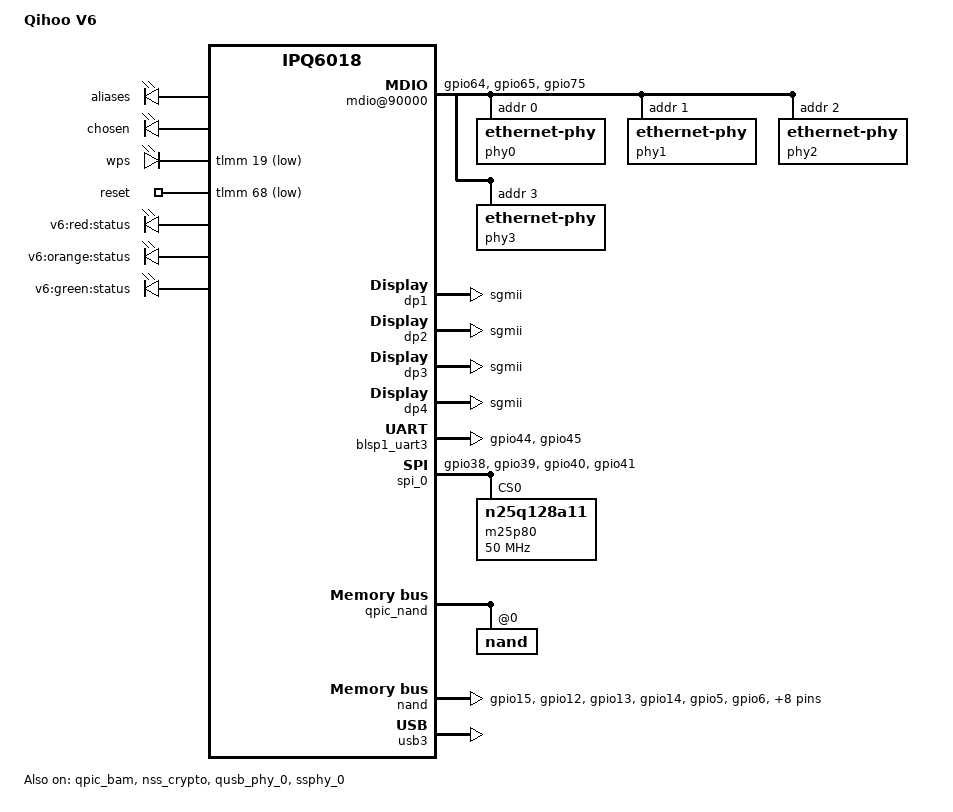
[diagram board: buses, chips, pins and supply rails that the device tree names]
/dts-v1/;

#include "ipq6018.dtsi"
#include "ipq6018-upstreamable.dtsi"
#include "ipq6018-ess.dtsi"

#include <dt-bindings/input/input.h>
#include <dt-bindings/gpio/gpio.h>

/ {
	#address-cells = <0x2>;
	#size-cells = <0x2>;
	model = "Qihoo V6";
	compatible = "qihoo,v6", "qcom,ipq6018";
	interrupt-parent = <&intc>;
	qcom,msm-id = <0x192 0x0>;

	aliases {
		led-boot = &led_red;
		led-failsafe = &led_red;
		led-running = &led_green;
		led-upgrade = &led_green;
		serial0 = &blsp1_uart3;

		ethernet0 = "/soc/dp1";
		ethernet1 = "/soc/dp2";
		ethernet2 = "/soc/dp3";
		ethernet3 = "/soc/dp4";
	};

	chosen {
		bootargs = "console=ttyMSM0,115200,n8 rw init=/init";
		bootargs-append = " root=/dev/ubiblock0_1 swiotlb=1 coherent_pool=2M";
	};
};

&tlmm {
	uart_pins: uart_pins {
		mux {
			pins = "gpio44", "gpio45";
			function = "blsp2_uart";
			drive-strength = <8>;
			bias-pull-down;
		};
	};

	spi_0_pins: spi_0_pins {
		mux {
			pins = "gpio38", "gpio39", "gpio40", "gpio41";
			function = "blsp0_spi";
			drive-strength = <8>;
			bias-pull-down;
		};
	};

	button_pins: button_pins {
		wps_button {
			pins = "gpio19";
			function = "gpio";
			drive-strength = <8>;
			bias-pull-up;
		};

		reset_button {
			pins = "gpio68";
			function = "gpio";
			drive-strength = <8>;
			bias-pull-up;
		};
	};

	mdio_pins: mdio_pinmux {
		mux_0 {
			pins = "gpio64";
			function = "mdc";
			drive-strength = <8>;
			bias-pull-up;
		};
		mux_1 {
			pins = "gpio65";
			function = "mdio";
			drive-strength = <8>;
			bias-pull-up;
		};
		mux_2 {
			pins = "gpio75";
			function = "gpio";
			bias-pull-up;
		};
	};

	leds_pins: leds_pins {
		mux {
			pins = "gpio71", "gpio72", "gpio73";
			function = "gpio";
			drive-strength = <8>;
			bias-pull-down;
		};
	};
};

&soc {
	mdio@90000 {
		pinctrl-0 = <&mdio_pins>;
		pinctrl-names = "default";
		phy-reset-gpio = <&tlmm 75 0 &tlmm 77 1>;
		status = "ok";

		phy0: ethernet-phy@0 {
			reg = <0>;
		};
		phy1: ethernet-phy@1 {
			reg = <1>;
		};
		phy2: ethernet-phy@2 {
			reg = <2>;
		};
		phy3: ethernet-phy@3 {
			reg = <3>;
		};
	};

	ess-switch@3a000000 {
		switch_cpu_bmp = <0x1>;  /* cpu port bitmap */
		switch_lan_bmp = <0xe>; /* lan port bitmap */
		switch_wan_bmp = <0x10>; /* wan port bitmap */
		switch_inner_bmp = <0xc0>; /*inner port bitmap*/
		switch_mac_mode = <0x0>; /* mac mode for uniphy 0*/
		switch_mac_mode1 = <0xff>; /* mac mode for uniphy 1*/
		switch_mac_mode2 = <0xff>; /* mac mode for uniphy 2*/
		
		qcom,port_phyinfo {
			port@0 {
				port_id = <4>;
				phy_address = <3>;
			};
			port@1 {
				port_id = <3>;
				phy_address = <2>;
			};
			port@2 {
				port_id = <2>;
				phy_address = <1>;
			};
			port@3 {
				port_id = <1>;
				phy_address = <0>;
			};			
		};
	};

	dp1 {
		device_type = "network";
		compatible = "qcom,nss-dp";
		qcom,id = <4>;
		reg = <0x3a001600 0x200>;
		qcom,mactype = <0>;
		local-mac-address = [000000000000];
		qcom,link-poll = <1>;
		qcom,phy-mdio-addr = <3>;
		phy-mode = "sgmii";
	};

	dp2 {
		device_type = "network";
		compatible = "qcom,nss-dp";
		qcom,id = <3>;
		reg = <0x3a001400 0x200>;
		qcom,mactype = <0>;
		local-mac-address = [000000000000];
		qcom,link-poll = <1>;
		qcom,phy-mdio-addr = <2>;
		phy-mode = "sgmii";
	};

	dp3 {
		device_type = "network";
		compatible = "qcom,nss-dp";
		qcom,id = <2>;
		reg = <0x3a001200 0x200>;
		qcom,mactype = <0>;
		local-mac-address = [000000000000];
		qcom,link-poll = <1>;
		qcom,phy-mdio-addr = <1>;
		phy-mode = "sgmii";
	};

	dp4 {
		device_type = "network";
		compatible = "qcom,nss-dp";
		qcom,id = <1>;
		reg = <0x3a001000 0x200>;
		qcom,mactype = <0>;
		local-mac-address = [000000000000];
		qcom,link-poll = <1>;
		qcom,phy-mdio-addr = <0>;
		phy-mode = "sgmii";
	};
 };

	keys {
		compatible = "gpio-keys";
		pinctrl-0 = <&button_pins>;
		pinctrl-names = "default";

		wps {
			label = "wps";
			linux,code = <KEY_WPS_BUTTON>;
			gpios = <&tlmm 19 GPIO_ACTIVE_LOW>;
			linux,input-type = <1>;
			debounce-interval = <60>;
		};

		reset {
			label = "reset";
			linux,code = <KEY_RESTART>;
			gpios = <&tlmm 68 GPIO_ACTIVE_LOW>;
			linux,input-type = <1>;
			debounce-interval = <60>;
		};
	};

	leds {
		compatible = "gpio-leds";
		pinctrl-0 = <&leds_pins>;
		pinctrl-names = "default";

		led_red: status_red {
			label = "v6:red:status";
			gpio = <&tlmm 71 GPIO_ACTIVE_HIGH>;
		};

		led_orange: status_orange {
			label = "v6:orange:status";
			gpio = <&tlmm 72 GPIO_ACTIVE_HIGH>;
		};

		led_green: status_green {
			label = "v6:green:status";
			gpio = <&tlmm 73 GPIO_ACTIVE_HIGH>;
		};
	};
};
	
&tlmm {
	uart_pins: uart_pins {
		mux {
			pins = "gpio44", "gpio45";
			function = "blsp2_uart";
			drive-strength = <8>;
			bias-pull-down;
		};
	};

	spi_0_pins: spi_0_pins {
		mux {
			pins = "gpio38", "gpio39", "gpio40", "gpio41";
			function = "blsp0_spi";
			drive-strength = <8>;
			bias-pull-down;
		};
	};

	qpic_pins: qpic_pins {
		data_0 {
			pins = "gpio15";
			function = "qpic_pad0";
			drive-strength = <8>;
			bias-pull-down;
		};
		data_1 {
			pins = "gpio12";
			function = "qpic_pad1";
			drive-strength = <8>;
			bias-pull-down;
		};
		data_2 {
			pins = "gpio13";
			function = "qpic_pad2";
			drive-strength = <8>;
			bias-pull-down;
		};
		data_3 {
			pins = "gpio14";
			function = "qpic_pad3";
			drive-strength = <8>;
			bias-pull-down;
		};
		data_4 {
			pins = "gpio5";
			function = "qpic_pad4";
			drive-strength = <8>;
			bias-pull-down;
		};
		data_5 {
			pins = "gpio6";
			function = "qpic_pad5";
			drive-strength = <8>;
			bias-pull-down;
		};
		data_6 {
			pins = "gpio7";
			function = "qpic_pad6";
			drive-strength = <8>;
			bias-pull-down;
		};
		data_7 {
			pins = "gpio8";
			function = "qpic_pad7";
			drive-strength = <8>;
			bias-pull-down;
		};
		qpic_pad {
			pins = "gpio1", "gpio3", "gpio4",
			       "gpio10", "gpio11", "gpio17";
			function = "qpic_pad";
			drive-strength = <8>;
			bias-pull-down;
		};
	};

	button_pins: button_pins {
		wps_button {
			pins = "gpio19";
			function = "gpio";
			drive-strength = <8>;
			bias-pull-up;
		};

		reset_button {
			pins = "gpio68";
			function = "gpio";
			drive-strength = <8>;
			bias-pull-up;
		};
	};

	mdio_pins: mdio_pinmux {
		mux_0 {
			pins = "gpio64";
			function = "mdc";
			drive-strength = <8>;
			bias-pull-up;
		};
		mux_1 {
			pins = "gpio65";
			function = "mdio";
			drive-strength = <8>;
			bias-pull-up;
		};
		mux_2 {
			pins = "gpio75";
			function = "gpio";
			bias-pull-up;
		};
	};

	leds_pins: leds_pins {
		red {
			pins = "gpio71";
			function = "gpio";
			drive-strength = <8>;
			bias-pull-down;
		};

		orange {
			pins = "gpio72";
			function = "gpio";
			drive-strength = <8>;
			bias-pull-down;
		};
	
		green {
			pins = "gpio73";
			function = "gpio";
			drive-strength = <8>;
			bias-pull-down;
		};
	};
};

&blsp1_uart3 {
	pinctrl-0 = <&uart_pins>;
	pinctrl-names = "default";
	status = "ok";
};

&spi_0 {
	pinctrl-0 = <&spi_0_pins>;
	pinctrl-names = "default";
	cs-select = <0>;
	status = "ok";

	m25p80@0 {
		#address-cells = <1>;
		#size-cells = <1>;
		reg = <0>;
		compatible = "n25q128a11";
		linux,modalias = "m25p80", "n25q128a11";
		spi-max-frequency = <50000000>;
		use-default-sizes;
	};
};

&qpic_bam {
	status = "ok";
};

&nss_crypto {
	status = "ok";
};

&qpic_nand {
	status = "ok";

	nand@0 {
		reg = <0>;
		#address-cells = <1>;
		#size-cells = <1>;

		nand-ecc-strength = <4>;
		nand-ecc-step-size = <512>;
		nand-bus-width = <8>;
	};
};

&nand {
	pinctrl-0 = <&qpic_pins>;
	pinctrl-names = "default";
	status = "ok";
};

&qusb_phy_0 {
	status = "ok";
};

&ssphy_0 {
	status = "ok";
};

&usb3 {
	status = "ok";
};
